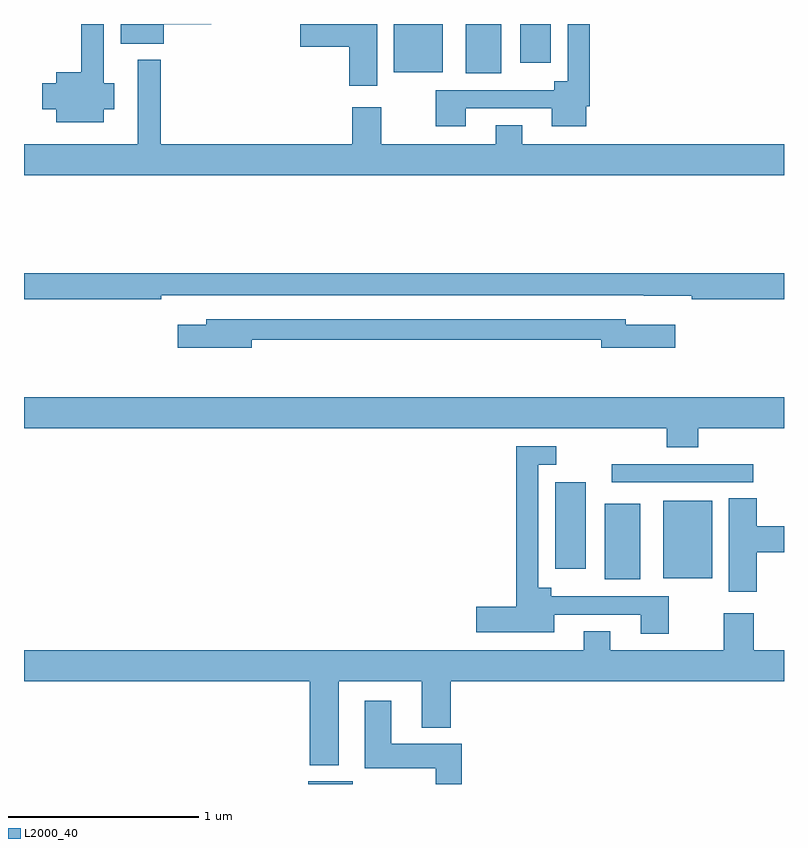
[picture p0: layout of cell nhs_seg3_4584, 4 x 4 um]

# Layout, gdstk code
import gdstk
lib = gdstk.Library(unit=1e-6, precision=1e-09)
def R(c, l, rs):  # rectangles x0, y0, x1, y1
    for r in rs: c.add(gdstk.rectangle(r[:2], r[2:], *l))
def P(c, l, *ps):  # polygons
    for p in ps: c.add(gdstk.Polygon(p, *l))
L2000_40 = (2000, 40)

nhs_seg3_4584 = lib.new_cell('nhs_seg3_4584')
R(nhs_seg3_4584, L2000_40, [(358.496,676.4,358.729,676.414), (360.056,677.477,360.244,677.875), (360.365,677.483,360.622,677.89), (359.795,677.532,359.956,677.989), (360.093,677.988,360.838,678.084), (359.324,680.141,359.512,680.4), (358.946,680.147,359.203,680.4), (359.612,680.196,359.773,680.4)])
P(nhs_seg3_4584, L2000_40, [(359.326,679.956),(359.777,679.956),(359.777,679.862),(359.959,679.862),(359.959,679.966),(359.978,679.966),(359.978,680.4),(359.862,680.4),(359.862,680.098),(359.792,680.098),(359.792,680.052),(359.168,680.052),(359.168,679.862),(359.326,679.862)],
  [(357.736,680.399),(357.985,680.399),(357.985,680.4),(357.509,680.4),(357.509,680.297),(357.736,680.297)],
  [(357.421,679.952),(357.475,679.952),(357.475,680.087),(357.421,680.087),(357.421,680.4),(357.3,680.4),(357.3,680.146),(357.17,680.146),(357.17,680.087),(357.095,680.087),(357.095,679.952),(357.17,679.952),(357.17,679.883),(357.421,679.883)],
  [(358.858,680.4),(358.455,680.4),(358.455,680.279),(358.712,680.279),(358.712,680.076),(358.858,680.076)],
  [(361,679.768),(359.623,679.768),(359.623,679.867),(359.483,679.867),(359.483,679.768),(358.879,679.768),(358.879,679.963),(358.727,679.963),(358.727,679.768),(357.721,679.768),(357.721,680.212),(357.599,680.212),(357.599,679.768),(357,679.768),(357,679.604),(361,679.604)],
  [(357.722,678.972),(360.262,678.972),(360.262,678.971),(360.514,678.971),(360.514,678.952),(361,678.952),(361,679.088),(357,679.088),(357,678.952),(357.722,678.952)],
  [(358.198,678.738),(360.038,678.738),(360.038,678.695),(360.427,678.695),(360.427,678.817),(360.166,678.817),(360.166,678.846),(357.959,678.846),(357.959,678.817),(357.81,678.817),(357.81,678.695),(358.198,678.695)],
  [(360.548,678.272),(361,678.272),(361,678.436),(357,678.436),(357,678.272),(360.383,678.272),(360.383,678.173),(360.548,678.173)],
  [(360.393,677.388),(359.776,677.388),(359.776,677.434),(359.706,677.434),(359.706,678.08),(359.8,678.08),(359.8,678.177),(359.59,678.177),(359.59,677.333),(359.379,677.333),(359.379,677.198),(359.791,677.198),(359.791,677.292),(360.245,677.292),(360.245,677.19),(360.393,677.19)],
  [(360.857,677.62),(361,677.62),(361,677.756),(360.857,677.756),(360.857,677.903),(360.71,677.903),(360.71,677.412),(360.857,677.412)],
  [(358.657,676.94),(359.093,676.94),(359.093,676.697),(359.246,676.697),(359.246,676.94),(361,676.94),(361,677.104),(360.842,677.104),(360.842,677.299),(360.682,677.299),(360.682,677.104),(360.085,677.104),(360.085,677.203),(359.945,677.203),(359.945,677.104),(357,677.104),(357,676.94),(358.505,676.94),(358.505,676.499),(358.657,676.499)],
  [(359.303,676.612),(358.933,676.612),(358.933,676.837),(358.793,676.837),(358.793,676.484),(359.168,676.484),(359.168,676.4),(359.303,676.4)])

lib.write_gds('nhs_seg3_4584.gds')
